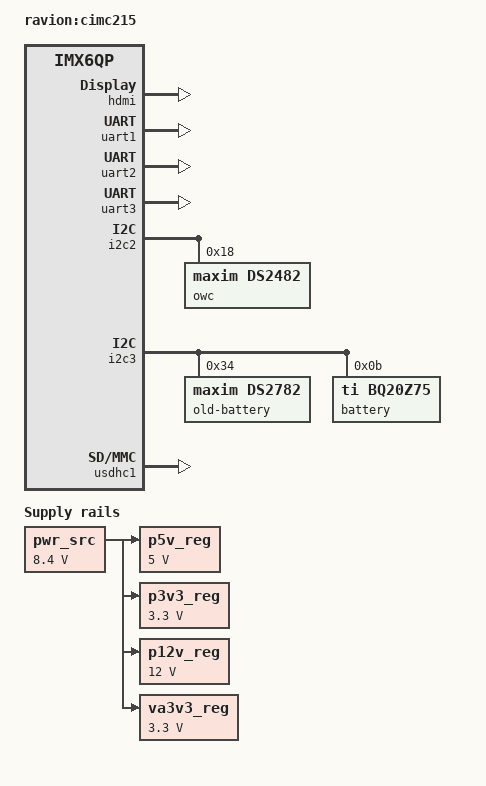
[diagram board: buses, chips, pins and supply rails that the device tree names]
/*
 * Copyright 2018 Radioavionica Corp.
 *
 * Author: Alex A. Mihaylov <minimumlaw@rambler.ru>
 *
 * This program is free software; you can redistribute it and/or modify
 * it under the terms of the GNU General Public License version 2 as
 * published by the Free Software Foundation.
 *
 */
/dts-v1/;
#include "imx6qp.dtsi"
#include "imx6qdl-ravion-v2.dtsi"

/ {
	model = "ravion:cimc215";
	compatible = "ravion,imx6qp", "fsl,imx6qp";

	/*
	 * Device specific regulators
	 */
	pwr_src: regulator_power {
		compatible = "regulator-fixed";
		regulator-name = "BATT_IN";
		/* FixMe: 5...8.4V input voltage */
		regulator-min-microvolt = <8400000>;
		regulator-max-microvolt = <8400000>;
		regulator-boot-on;
		regulator-always-on;
	};

	p5v_reg: regulator_5v0 {
		compatible = "regulator-fixed";
		regulator-name = "P5V";
		regulator-min-microvolt = <5000000>;
		regulator-max-microvolt = <5000000>;
		vin-supply = <&pwr_src>;
		regulator-boot-on;
		regulator-always-on;
	};

	p3v3_reg: regulator_3v3 {
		compatible = "regulator-fixed";
		regulator-name = "P3V3";
		regulator-min-microvolt = <3300000>;
		regulator-max-microvolt = <3300000>;
		vin-supply = <&pwr_src>;
		regulator-boot-on;
		regulator-always-on;
	};

	p12v_reg: regulator_12v {
		compatible = "regulator-fixed";
		regulator-name = "P12V";
		regulator-min-microvolt = <12000000>;
		regulator-max-microvolt = <12000000>;
		vin-supply = <&pwr_src>;
		regulator-boot-on;
		regulator-always-on; /* XP61: enable/disable reg. */
	};

	va3v3_reg: regulator_3v3va {
		compatible = "regulator-fixed";
		regulator-name = "VA3V3";
		regulator-min-microvolt = <3300000>;
		regulator-max-microvolt = <3300000>;
		vin-supply = <&pwr_src>;
		regulator-boot-on;
		regulator-always-on;
	};
};

/*
 * Sound subsystem
 */
&ssi2	{	status = "disabled";	};

/*
 * Video subsystems
 */
/* HDMI */
&hdmi {		status = "okay";	};
/* TFT */
&tft_display_bus { status = "disabled"; };
/* LVDS */
&ldb {		status = "disabled";	};

/*
 * Serial ports
 */
&uart1 {
	pinctrl-names = "default";
	pinctrl-0 = <&pinctrl_uart1>, <&pinctrl_uart1ctrl>;
	uart-has-rtscts;
	status = "okay";
};

&uart2 {	status = "okay";	};
&uart3 {	status = "okay";	};

/*
 * I2C Busses
 */
&i2c2 {	/* Compatible I2C: soDimm 194, 196 */
	status = "okay";

	owc: ds2482@18 { /* DS2484: I2C to OneWire Converter */
		status = "okay";
		compatible = "maxim,ds2482";
		reg = <0x18>;
	};
};

/* Extended I2C: soDimm 128, 130 */
&i2c3 {
	status = "okay";
	#address-cells = <1>;
	#size-cells = <0>;

	old-battery@34 { /* Very old battery */
		reg = <0x34>;
		compatible = "maxim,ds2782";
	};

	battery@b {
		compatible = "ti,bq20z75", "sbs,sbs-battery";
		reg = <0xb>;
		sbs,i2c-retry-count = <2>;
		sbs,poll-retry-count = <10>;
	};
};

&mipi_csi {	status = "disabled";	};

/*
 * SPI Bus
 */
&ecspi1 {	status = "disabled"; };

/*
 * SD/MMC and eMMC controllers
 */
&usdhc1 {	status = "okay";	}; /* compatible *
&usdhc2 {	status = "disabled";	}; /* externed *
/* &usdhc3 {	status = "okay";	}; => eMMC allways enabled *

/*
 * Ethernet controller
 */
/* &fec {	status = "okay";	}; => eth0 allways enabled *

/*
 * Audio (digital part)
 */
/* &audmux {	status = "okay";	}; => Allways enabled *
/* &ssi1 {	status = "okay";	}; => Allways enabled *

/*
 * High-speed serial bus
 */
&pcie {		status = "disabled";	};
&sata {		status = "disabled";	};

/* &usbh1 {	status = "okay";	}; HOST => Allways enabled *

&usbotg	{ /* OTG *
	status = "okay";
};

&usbh3 { /* HSIC *
	status = "disabled";
	#address-cells = <1>;
	#size-cells = <0>;
};

/*
 * PWMs
 */
&pwm3	{	status = "disabled";	};
&pwm4	{	status = "disabled";	};

